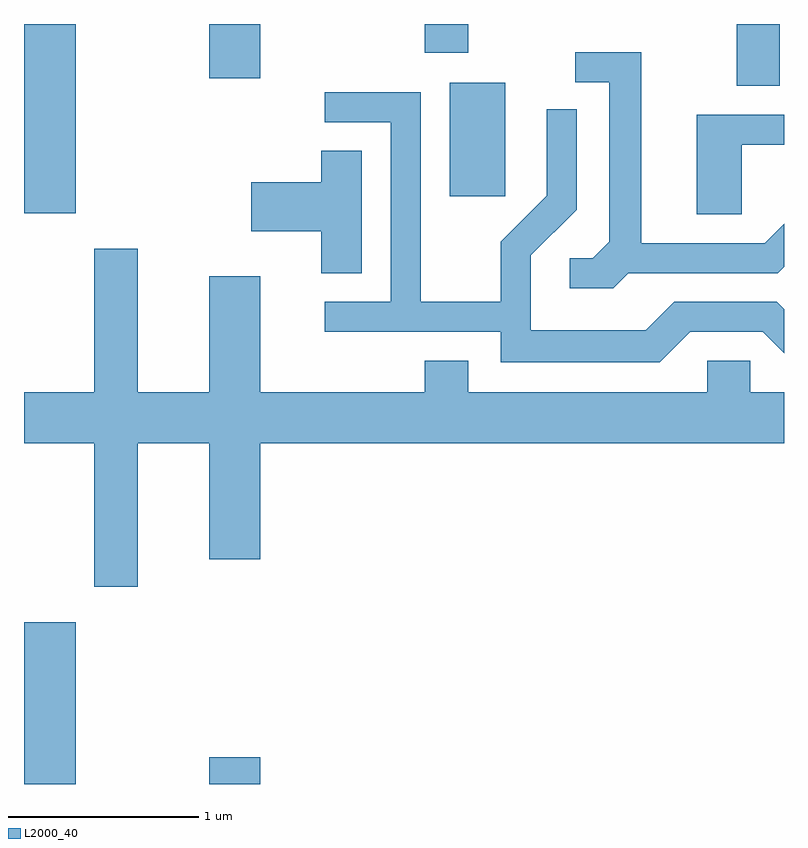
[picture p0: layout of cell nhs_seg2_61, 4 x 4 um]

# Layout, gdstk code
import gdstk
lib = gdstk.Library(unit=1e-6, precision=1e-09)
def R(c, l, rs):  # rectangles x0, y0, x1, y1
    for r in rs: c.add(gdstk.rectangle(r[:2], r[2:], *l))
def P(c, l, *ps):  # polygons
    for p in ps: c.add(gdstk.Polygon(p, *l))
L2000_40 = (2000, 40)

nhs_seg2_61 = lib.new_cell('nhs_seg2_61')
R(nhs_seg2_61, L2000_40, [(185.611,1099.802,185.884,1100.654), (186.586,1099.802,186.854,1099.944), (185.611,1102.806,185.884,1103.802), (187.851,1102.896,188.144,1103.494), (189.361,1103.476,189.589,1103.802), (186.586,1103.516,186.854,1103.802), (187.721,1103.651,187.949,1103.802)])
P(nhs_seg2_61, L2000_40, [(188.792,1102.491),(189.577,1102.491),(189.611,1102.525),(189.611,1102.752),(189.509,1102.649),(188.859,1102.649),(188.859,1103.654),(188.513,1103.654),(188.513,1103.496),(188.691,1103.496),(188.691,1102.657),(188.604,1102.569),(188.483,1102.569),(188.483,1102.411),(188.712,1102.411)],
  [(189.117,1102.181),(189.499,1102.181),(189.611,1102.069),(189.611,1102.3),(189.572,1102.339),(189.034,1102.339),(188.884,1102.189),(188.279,1102.189),(188.279,1102.584),(188.519,1102.824),(188.519,1103.353),(188.361,1103.353),(188.361,1102.897),(188.121,1102.657),(188.121,1102.339),(187.699,1102.339),(187.699,1103.444),(187.193,1103.444),(187.193,1103.286),(187.541,1103.286),(187.541,1102.339),(187.193,1102.339),(187.193,1102.181),(188.121,1102.181),(188.121,1102.021),(188.957,1102.021)],
  [(189.389,1103.166),(189.611,1103.166),(189.611,1103.324),(189.151,1103.324),(189.151,1102.801),(189.389,1102.801)],
  [(187.389,1103.134),(187.176,1103.134),(187.176,1102.969),(186.806,1102.969),(186.806,1102.711),(187.176,1102.711),(187.176,1102.491),(187.389,1102.491)],
  [(186.209,1101.596),(186.586,1101.596),(186.586,1100.986),(186.854,1100.986),(186.854,1101.596),(189.611,1101.596),(189.611,1101.864),(189.434,1101.864),(189.434,1102.029),(189.206,1102.029),(189.206,1101.864),(187.949,1101.864),(187.949,1102.029),(187.721,1102.029),(187.721,1101.864),(186.854,1101.864),(186.854,1102.474),(186.586,1102.474),(186.586,1101.864),(186.209,1101.864),(186.209,1102.619),(185.981,1102.619),(185.981,1101.864),(185.611,1101.864),(185.611,1101.596),(185.981,1101.596),(185.981,1100.841),(186.209,1100.841)])

lib.write_gds('nhs_seg2_61.gds')
